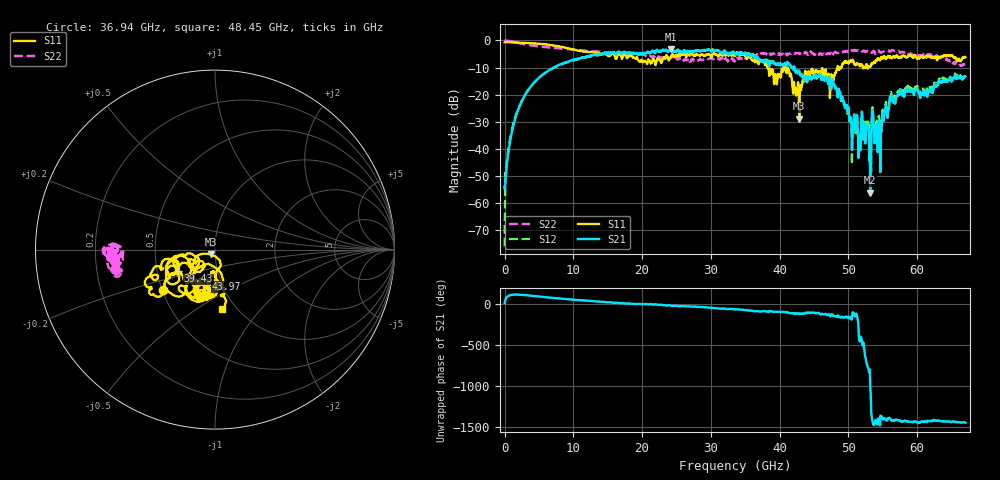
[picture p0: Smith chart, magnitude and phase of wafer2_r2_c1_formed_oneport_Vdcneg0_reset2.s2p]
!Keysight Technologies,N5227A,US51270248,A.10.65.08
!Date: Tuesday, June 11, 2024 08:18:23
!Correction: S11(Full 2 Port(1,4))
!S41(Full 2 Port(1,4))
!S14(Full 2 Port(1,4))
!S44(Full 2 Port(1,4))
!S2P File: Measurements: S11, S41, S14, S44:
# Hz S  dB  R 50
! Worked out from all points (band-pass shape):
!   3201 points, 10 MHz to 67 GHz, reference 50 ohm
!   highest |S21| = -3.28 dB at 24.19 GHz (marker M1); lowest = -56.2 dB at 53.16 GHz (marker M2)
!   |S21| within 3 dB of the highest: 11.36 GHz to 36.39 GHz (25.02 GHz wide, 105 % of centre); 36.44117 GHz to 36.55505 GHz (113.9 MHz wide, 0.312 % of centre)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
!   lowest |S11| = -28.8 dB at 42.84 GHz (marker M3), VSWR 1.07, Z = 47.6 - j2.54 ohm
!   |S11| at or under -10 dB: 38.36 GHz to 40.6 GHz (2.239 GHz wide, 5.67 % of centre); 40.83 GHz to 41.12 GHz (281.8 MHz wide, 0.688 % of centre); 41.16 GHz to 48.38 GHz (7.221 GHz wide, 16.1 % of centre)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
!   |S22| runs from -9.4 to 0.0 dB; largest |S21 - S12| = 0.053
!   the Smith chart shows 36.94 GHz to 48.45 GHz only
!   S11 on the Smith chart (normalised r, x): 36.94 GHz: 0.51, -0.26; 39.43 GHz: 0.64, -0.16; 43.97 GHz: 0.86, -0.29; 48.45 GHz: 0.86, -0.64
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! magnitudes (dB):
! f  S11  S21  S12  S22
! 10 MHz  -0.6  -54.0  -75.9  0.0
! 386.8 MHz  -0.7  -44.7  -43.2  -0.1
! 679.9 MHz  -0.7  -39.2  -37.9  -0.2
! 2.501 GHz  -0.8  -22.5  -22.2  -1.2
! 5.746 GHz  -1.4  -12.2  -12.3  -2.4
! 11.19 GHz  -4.0  -6.3  -6.7  -3.6
! 22.35 GHz  -7.0  -3.9  -3.9  -6.1
! 24.19 GHz  -5.9  -3.3  -3.3  -6.5
! 33.51 GHz  -5.6  -5.1  -5.1  -7.4
! 36.94 GHz  -8.7  -6.9  -7.2  -5.0
! 39.43 GHz  -12.5  -8.9  -8.9  -5.1
! 40.96 GHz  -11.1  -9.1  -9.1  -4.9
! 42.84 GHz  -28.8  -11.5  -11.3  -4.8
! 43.97 GHz  -15.4  -14.7  -14.4  -4.6
! 44.68 GHz  -10.7  -13.8  -13.6  -4.7
! 47.55 GHz  -12.7  -17.3  -17.0  -5.0
! 48.45 GHz  -9.5  -20.6  -21.0  -4.6
! 50.42 GHz  -7.8  -30.6  -31.9  -3.8
! 53.16 GHz  -9.4  -56.2  -46.6  -4.3
! 54.52 GHz  -6.8  -31.1  -29.3  -4.4
! 55.84 GHz  -5.9  -25.5  -24.3  -3.7
! 67 GHz  -6.2  -13.3  -12.7  -8.7
